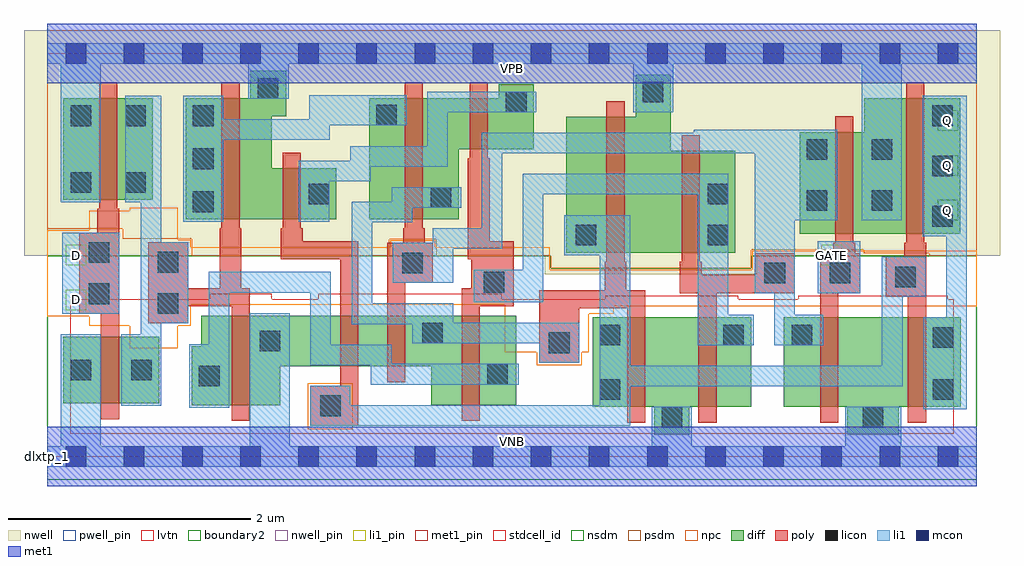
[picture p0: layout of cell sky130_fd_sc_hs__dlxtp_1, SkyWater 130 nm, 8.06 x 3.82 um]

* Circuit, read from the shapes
.subckt sky130_fd_sc_hs__dlxtp_1 D GATE Q VGND VNB VPB VPWR
XM1 n1 D VGND VNB sky130_fd_pr__nfet_01v8_lvt w=0.55 l=0.15
XM2 VGND n1 n2 VNB sky130_fd_pr__nfet_01v8_lvt w=0.74 l=0.15
XM3 n3 n4 VGND VNB sky130_fd_pr__nfet_01v8_lvt w=0.42 l=0.15
XM4 n5 n6 n3 VNB sky130_fd_pr__nfet_01v8_lvt w=0.42 l=0.15
XM5 n2 n7 n5 VNB sky130_fd_pr__nfet_01v8_lvt w=0.74 l=0.15
XM6 VGND n5 n4 VNB sky130_fd_pr__nfet_01v8_lvt w=0.74 l=0.15
XM7 n7 n6 VGND VNB sky130_fd_pr__nfet_01v8_lvt w=0.74 l=0.15
XM8 VGND GATE n6 VNB sky130_fd_pr__nfet_01v8_lvt w=0.74 l=0.15
XM9 Q n4 VGND VNB sky130_fd_pr__nfet_01v8_lvt w=0.74 l=0.15
XM10 n1 D VPWR VPB sky130_fd_pr__pfet_01v8 w=0.84 l=0.15
XM11 VPWR n1 n8 VPB sky130_fd_pr__pfet_01v8 w=1 l=0.15
XM12 n9 n4 VPWR VPB sky130_fd_pr__pfet_01v8 w=0.42 l=0.15
XM13 n5 n6 n8 VPB sky130_fd_pr__pfet_01v8 w=1 l=0.15
XM14 n9 n7 n5 VPB sky130_fd_pr__pfet_01v8 w=0.42 l=0.15
XM15 VPWR n5 n4 VPB sky130_fd_pr__pfet_01v8 w=1.12 l=0.15
XM16 n7 n6 VPWR VPB sky130_fd_pr__pfet_01v8 w=0.84 l=0.15
XM17 VPWR GATE n6 VPB sky130_fd_pr__pfet_01v8 w=0.84 l=0.15
XM18 Q n4 VPWR VPB sky130_fd_pr__pfet_01v8 w=1.12 l=0.15
.ends

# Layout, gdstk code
import gdstk
lib = gdstk.Library(unit=1e-6, precision=1e-09)
def R(c, l, rs):  # rectangles x0, y0, x1, y1
    for r in rs: c.add(gdstk.rectangle(r[:2], r[2:], *l))
def A(c, l, x, y, w, h, nx, ny, dx, dy):  # array of equal rectangles
    R(c, l, [(x+i*dx, y+j*dy, x+i*dx+w, y+j*dy+h) for i in range(nx) for j in range(ny)])
def P(c, l, *ps):  # polygons
    for p in ps: c.add(gdstk.Polygon(p, *l))
nwell_pin = (64, 16)
nwell = (64, 20)
diff = (65, 20)
poly = (66, 20)
licon = (66, 44)
li1_pin = (67, 16)
li1 = (67, 20)
mcon = (67, 44)
met1_pin = (68, 16)
met1 = (68, 20)
stdcell_id = (81, 4)
nsdm = (93, 44)
psdm = (94, 20)
npc = (95, 20)
pwell_pin = (122, 16)
lvtn = (125, 44)
boundary2 = (236, 0)

sky130_fd_sc_hs__dlxtp_1 = lib.new_cell('sky130_fd_sc_hs__dlxtp_1')
R(sky130_fd_sc_hs__dlxtp_1, nwell_pin, [(0,3.085,7.68,3.33)])
P(sky130_fd_sc_hs__dlxtp_1, nwell, [(7.87,3.52),(-0.19,3.52),(-0.19,1.66),(4.11,1.66),(4.11,1.505),(5.865,1.505),(5.865,1.66),(7.87,1.66)])
R(sky130_fd_sc_hs__dlxtp_1, diff, [(0.135,0.44,0.925,0.99), (0.135,2.12,0.875,2.96)])
P(sky130_fd_sc_hs__dlxtp_1, diff, [(2.39,2.38),(1.855,2.38),(1.855,2.81),(1.975,2.81),(1.975,3.185),(1.68,3.185),(1.68,2.96),(1.145,2.96),(1.145,1.96),(2.39,1.96)],
  [(3.875,1.165),(1.275,1.165),(1.275,0.91),(1.195,0.91),(1.195,0.425),(1.925,0.425),(1.925,0.745),(3.175,0.745),(3.175,0.425),(3.875,0.425)],
  [(4.02,3.075),(3.73,3.075),(3.73,2.96),(2.66,2.96),(2.66,1.96),(3.4,1.96),(3.4,2.54),(4.02,2.54)],
  [(5.685,2.525),(5.15,2.525),(5.15,3.155),(4.86,3.155),(4.86,2.805),(4.29,2.805),(4.29,1.685),(5.685,1.685)],
  [(5.815,1.15),(4.505,1.15),(4.505,0.41),(5.015,0.41),(5.015,0.18),(5.305,0.18),(5.305,0.41),(5.815,0.41)],
  [(7.54,2.96),(6.75,2.96),(6.75,2.68),(6.215,2.68),(6.215,1.84),(7.54,1.84)],
  [(7.545,1.15),(6.085,1.15),(6.085,0.41),(6.61,0.41),(6.61,0.18),(7.035,0.18),(7.035,0.41),(7.545,0.41)])
P(sky130_fd_sc_hs__dlxtp_1, poly, [(7.26,1.765),(7.245,1.765),(7.245,3.09),(7.095,3.09),(7.095,1.765),(7.08,1.765),(7.08,1.65),(6.925,1.65),(6.925,1.32),(7.11,1.32),(7.11,0.28),(7.26,0.28)],
  [(6.715,1.68),(6.675,1.68),(6.675,1.765),(6.66,1.765),(6.66,2.81),(6.51,2.81),(6.51,1.765),(6.495,1.765),(6.495,1.68),(6.385,1.68),(6.385,0.28),(6.535,0.28),(6.535,1.35),(6.715,1.35)],
  [(6.175,1.68),(5.845,1.68),(5.845,1.5),(5.405,1.5),(5.405,1.61),(5.39,1.61),(5.39,2.655),(5.24,2.655),(5.24,1.61),(5.225,1.61),(5.225,1.35),(5.38,1.35),(5.38,0.28),(5.53,0.28),(5.53,1.35),(6.175,1.35)],
  [(4.94,1.375),(4.785,1.375),(4.785,1.61),(4.77,1.61),(4.77,2.935),(4.62,2.935),(4.62,1.61),(4.605,1.61),(4.605,1.375),(4.065,1.375),(4.065,0.775),(4.395,0.775),(4.395,1.225),(4.79,1.225),(4.79,0.28),(4.94,0.28)],
  [(3.855,1.78),(3.655,1.78),(3.655,2.465),(3.64,2.465),(3.64,3.09),(3.49,3.09),(3.49,2.465),(3.475,2.465),(3.475,1.63),(3.505,1.63),(3.505,1.39),(3.425,1.39),(3.425,0.295),(3.575,0.295),(3.575,1.24),(3.855,1.24)],
  [(3.185,1.765),(3.12,1.765),(3.12,1.885),(3.105,1.885),(3.105,3.09),(2.955,3.09),(2.955,1.885),(2.94,1.885),(2.94,1.765),(2.81,1.765),(2.81,0.615),(2.96,0.615),(2.96,1.435),(3.185,1.435)],
  [(2.57,1.78),(2.11,1.78),(2.11,1.885),(2.095,1.885),(2.095,2.51),(1.945,2.51),(1.945,1.885),(1.93,1.885),(1.93,1.63),(2.42,1.63),(2.42,0.585),(2.175,0.585),(2.175,0.255),(2.57,0.255)],
  [(1.675,1.39),(1.605,1.39),(1.605,1.885),(1.59,1.885),(1.59,3.09),(1.44,3.09),(1.44,1.885),(1.425,1.885),(1.425,1.39),(1.165,1.39),(1.165,1.77),(0.835,1.77),(0.835,1.1),(1.165,1.1),(1.165,1.24),(1.525,1.24),(1.525,0.295),(1.675,0.295)],
  [(0.595,2.045),(0.58,2.045),(0.58,3.09),(0.43,3.09),(0.43,2.045),(0.415,2.045),(0.415,1.85),(0.265,1.85),(0.265,1.18),(0.445,1.18),(0.445,0.31),(0.595,0.31)])
A(sky130_fd_sc_hs__dlxtp_1, licon, 7.31, 1.9, 0.17, 0.17, 1, 3, 0, 0.415)
A(sky130_fd_sc_hs__dlxtp_1, licon, 1.205, 2.02, 0.17, 0.17, 1, 3, 0, 0.355)
R(sky130_fd_sc_hs__dlxtp_1, licon, [(5.075,0.24,5.245,0.41), (6.735,0.24,6.905,0.41), (2.255,0.335,2.425,0.505), (4.565,0.47,4.735,0.64), (7.315,0.47,7.485,0.64), (1.255,0.58,1.425,0.75), (3.635,0.595,3.805,0.765), (0.195,0.63,0.365,0.8), (0.695,0.63,0.865,0.8), (4.145,0.855,4.315,1.025), (1.755,0.87,1.925,1.04), (7.315,0.9,7.485,1.07), (4.565,0.92,4.735,1.09), (5.585,0.92,5.755,1.09), (6.15,0.92,6.32,1.09), (3.1,0.935,3.27,1.105), (0.915,1.18,1.085,1.35), (0.345,1.26,0.515,1.43), (3.605,1.355,3.775,1.525), (7.005,1.4,7.175,1.57), (5.925,1.43,6.095,1.6), (6.465,1.43,6.635,1.6), (2.935,1.515,3.105,1.685), (0.915,1.52,1.085,1.69), (0.345,1.6,0.515,1.77), (4.365,1.745,4.535,1.915), (5.455,1.745,5.625,1.915), (6.275,2.03,6.445,2.2), (6.81,2.03,6.98,2.2), (3.17,2.055,3.34,2.225), (2.16,2.085,2.33,2.255), (5.455,2.085,5.625,2.255), (0.195,2.18,0.365,2.35), (0.645,2.18,0.815,2.35), (6.275,2.45,6.445,2.62), (6.81,2.45,6.98,2.62), (0.195,2.73,0.365,2.9), (0.645,2.73,0.815,2.9), (2.72,2.735,2.89,2.905), (3.79,2.845,3.96,3.015), (4.92,2.925,5.09,3.095), (1.74,2.955,1.91,3.125)])
A(sky130_fd_sc_hs__dlxtp_1, li1_pin, 7.355, 1.95, 0.17, 0.17, 1, 3, 0, 0.37)
R(sky130_fd_sc_hs__dlxtp_1, li1_pin, [(0.155,1.21,0.325,1.38), (0.155,1.58,0.325,1.75), (6.395,1.58,6.565,1.75)])
R(sky130_fd_sc_hs__dlxtp_1, li1, [(0.125,1.18,0.595,1.85), (6.365,1.35,6.715,1.78)])
P(sky130_fd_sc_hs__dlxtp_1, li1, [(4.84,2.845),(4.84,3.245),(1.995,3.245),(1.995,2.955),(1.66,2.955),(1.66,3.245),(0.445,3.245),(0.445,2.1),(0.115,2.1),(0.115,3.245),(0,3.245),(0,3.415),(7.68,3.415),(7.68,3.245),(7.06,3.245),(7.06,1.95),(6.73,1.95),(6.73,3.245),(5.17,3.245),(5.17,2.845)],
  [(4.995,0.085),(4.995,0.41),(5.325,0.41),(5.325,0.085),(6.59,0.085),(6.59,0.41),(7.055,0.41),(7.055,0.085),(7.68,0.085),(7.68,-0.085),(0,-0.085),(0,0.085),(0.115,0.085),(0.115,1.01),(0.445,1.01),(0.445,0.085),(1.675,0.085),(1.675,1.185),(2.005,1.185),(2.005,0.085)],
  [(7.425,1.15),(7.425,1.82),(7.23,1.82),(7.23,2.98),(7.595,2.98),(7.595,0.39),(7.235,0.39),(7.235,1.15)],
  [(5.845,1.35),(5.845,2.505),(3.76,2.505),(3.76,1.715),(3.355,1.715),(3.355,1.435),(2.855,1.435),(2.855,1.765),(3.185,1.765),(3.185,1.885),(3.59,1.885),(3.59,2.675),(5.34,2.675),(5.34,2.7),(6.525,2.7),(6.525,1.95),(6.175,1.95),(6.175,1.17),(6.41,1.17),(6.41,0.92),(6.005,0.92),(6.005,1.35)],
  [(2.845,2.105),(2.845,2.225),(3.42,2.225),(3.42,2.055),(3.015,2.055),(3.015,1.935),(2.685,1.935),(2.685,1.265),(3.355,1.265),(3.355,1.105),(4.395,1.105),(4.395,0.775),(4.065,0.775),(4.065,0.935),(3.015,0.935),(3.015,1.095),(2.515,1.095),(2.515,2.105)],
  [(3.525,1.275),(3.525,1.545),(3.93,1.545),(3.93,2.335),(5.625,2.335),(5.625,1.17),(5.835,1.17),(5.835,0.92),(5.375,0.92),(5.375,2.165),(4.1,2.165),(4.1,1.275)],
  [(0.775,2.1),(0.645,2.1),(0.645,2.98),(0.945,2.98),(0.945,1.77),(1.165,1.77),(1.165,1.1),(0.945,1.1),(0.945,0.42),(0.615,0.42),(0.615,1.01),(0.775,1.01)],
  [(4.565,0.425),(4.565,1.665),(4.27,1.665),(4.27,1.995),(4.815,1.995),(4.815,0.75),(6.895,0.75),(6.895,1.65),(7.255,1.65),(7.255,1.32),(7.065,1.32),(7.065,0.58),(4.815,0.58),(4.815,0.255),(2.175,0.255),(2.175,0.585),(2.505,0.585),(2.505,0.425)],
  [(4.04,3.015),(4.04,2.845),(3.31,2.845),(3.31,2.395),(2.675,2.395),(2.675,2.275),(2.33,2.275),(2.33,1.94),(2.08,1.94),(2.08,2.445),(2.505,2.445),(2.505,2.565),(3.14,2.565),(3.14,3.015)],
  [(2.345,1.525),(2.345,0.925),(2.845,0.925),(2.845,0.765),(3.895,0.765),(3.895,0.595),(2.675,0.595),(2.675,0.755),(2.175,0.755),(2.175,1.355),(1.505,1.355),(1.505,0.405),(1.175,0.405),(1.175,0.93),(1.335,0.93),(1.335,1.525)],
  [(1.125,1.94),(1.125,2.98),(1.455,2.98),(1.455,2.785),(2.165,2.785),(2.165,2.985),(2.97,2.985),(2.97,2.735),(2.335,2.735),(2.335,2.615),(1.455,2.615),(1.455,1.94)])
A(sky130_fd_sc_hs__dlxtp_1, mcon, 0.155, -0.085, 0.17, 0.17, 16, 2, 0.48, 3.33)
R(sky130_fd_sc_hs__dlxtp_1, met1_pin, [(0,0,7.68,0.245), (0,3.085,7.68,3.33)])
R(sky130_fd_sc_hs__dlxtp_1, met1, [(0,-0.245,7.68,0.245), (0,3.085,7.68,3.575)])
R(sky130_fd_sc_hs__dlxtp_1, stdcell_id, [(0,0,7.68,3.33)])
P(sky130_fd_sc_hs__dlxtp_1, nsdm, [(7.68,1.66),(5.815,1.66),(5.815,1.555),(4.16,1.555),(4.16,1.66),(0,1.66),(0,-0.19),(7.68,-0.19)])
P(sky130_fd_sc_hs__dlxtp_1, psdm, [(7.68,3.52),(0,3.52),(0,1.88),(0.625,1.88),(0.625,1.8),(1.195,1.8),(1.195,1.66),(2.825,1.66),(2.825,1.795),(3.215,1.795),(3.215,1.66),(4.16,1.66),(4.16,1.555),(5.815,1.555),(5.815,1.71),(6.745,1.71),(6.745,1.68),(7.285,1.68),(7.285,1.66),(7.68,1.66)])
R(sky130_fd_sc_hs__dlxtp_1, npc, [(2.155,0.225,2.525,0.605)])
P(sky130_fd_sc_hs__dlxtp_1, npc, [(7.68,1.7),(5.825,1.7),(5.825,1.545),(4.15,1.545),(4.15,1.73),(3.205,1.73),(3.205,1.785),(2.835,1.785),(2.835,1.73),(1.185,1.73),(1.185,1.79),(1.08,1.79),(1.08,2.055),(0.685,2.055),(0.685,2.03),(0.35,2.03),(0.35,1.87),(0,1.87),(0,1.16),(0.35,1.16),(0.35,1.08),(0.685,1.08),(0.685,0.895),(1.08,0.895),(1.08,1.08),(1.185,1.08),(1.185,1.255),(3.78,1.255),(3.78,0.86),(4.045,0.86),(4.045,0.755),(4.415,0.755),(4.415,0.86),(4.475,0.86),(4.475,1.18),(4.68,1.18),(4.68,1.24),(7.68,1.24)])
R(sky130_fd_sc_hs__dlxtp_1, pwell_pin, [(0,0,7.68,0.245)])
P(sky130_fd_sc_hs__dlxtp_1, lvtn, [(7.49,1.3),(7.44,1.3),(7.44,1.33),(6.205,1.33),(6.205,1.3),(5.71,1.3),(5.71,1.33),(4.61,1.33),(4.61,1.3),(3.755,1.3),(3.755,1.345),(2.24,1.345),(2.24,1.3),(1.855,1.3),(1.855,1.345),(1.345,1.345),(1.345,1.3),(0.19,1.3),(0.19,0.19),(7.49,0.19)])
R(sky130_fd_sc_hs__dlxtp_1, boundary2, [(0,0,7.68,3.33)])
sky130_fd_sc_hs__dlxtp_1.add(gdstk.Label('dlxtp_1', (0,0), layer=83, texttype=44))
sky130_fd_sc_hs__dlxtp_1.add(gdstk.Label('VNB', (3.84,0.123), layer=64, texttype=59))
sky130_fd_sc_hs__dlxtp_1.add(gdstk.Label('VPB', (3.84,3.208), layer=64, texttype=5))
sky130_fd_sc_hs__dlxtp_1.add(gdstk.Label('VPWR', (3.84,3.208), layer=68, texttype=5))
sky130_fd_sc_hs__dlxtp_1.add(gdstk.Label('VGND', (3.84,0.123), layer=68, texttype=5))
sky130_fd_sc_hs__dlxtp_1.add(gdstk.Label('D', (0.24,1.295), layer=67, texttype=5))
sky130_fd_sc_hs__dlxtp_1.add(gdstk.Label('D', (0.24,1.665), layer=67, texttype=5))
sky130_fd_sc_hs__dlxtp_1.add(gdstk.Label('Q', (7.44,2.035), layer=67, texttype=5))
sky130_fd_sc_hs__dlxtp_1.add(gdstk.Label('Q', (7.44,2.405), layer=67, texttype=5))
sky130_fd_sc_hs__dlxtp_1.add(gdstk.Label('Q', (7.44,2.775), layer=67, texttype=5))
sky130_fd_sc_hs__dlxtp_1.add(gdstk.Label('GATE', (6.48,1.665), layer=67, texttype=5))

lib.write_gds('sky130_fd_sc_hs__dlxtp_1.gds')
